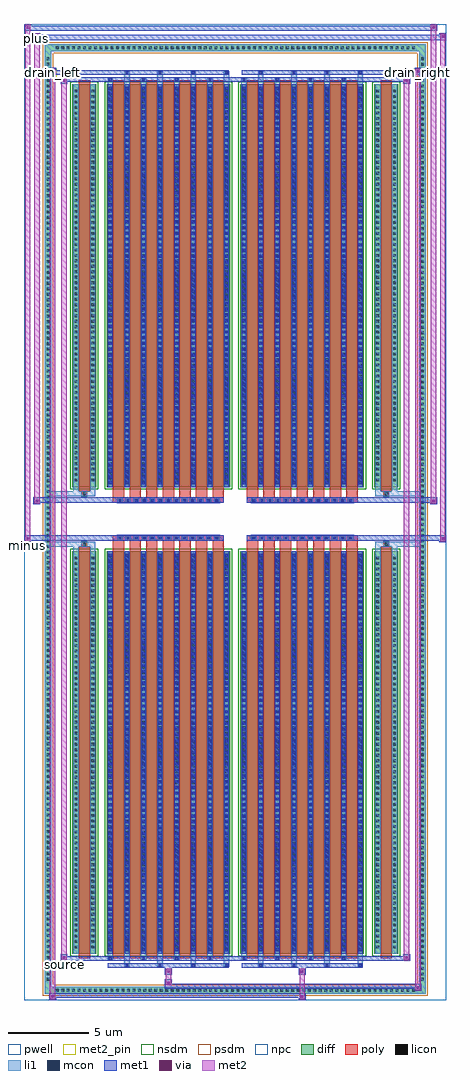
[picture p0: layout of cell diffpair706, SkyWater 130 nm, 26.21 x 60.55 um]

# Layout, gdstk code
import gdstk
lib = gdstk.Library(unit=1e-6, precision=5e-09)
def R(c, l, rs):  # rectangles x0, y0, x1, y1
    for r in rs: c.add(gdstk.rectangle(r[:2], r[2:], *l))
def A(c, l, x, y, w, h, nx, ny, dx, dy):  # array of equal rectangles
    R(c, l, [(x+i*dx, y+j*dy, x+i*dx+w, y+j*dy+h) for i in range(nx) for j in range(ny)])
def P(c, l, *ps):  # polygons
    for p in ps: c.add(gdstk.Polygon(p, *l))
pwell = (64, 44)
diff = (65, 20)
poly = (66, 20)
licon = (66, 44)
li1 = (67, 20)
mcon = (67, 44)
met1 = (68, 20)
via = (68, 44)
met2_pin = (69, 16)
met2 = (69, 20)
nsdm = (93, 44)
psdm = (94, 20)
npc = (95, 20)

diffpair706 = lib.new_cell('diffpair706')
R(diffpair706, pwell, [(-13.09,-29.84,13.09,30.71), (-10.41,-28.03,-0.01,-0.805), (0.01,-28.03,10.41,-0.805), (-10.41,0.805,-0.01,28.03), (0.01,0.805,10.41,28.03)])
A(diffpair706, diff, -11.255, -29.44, 0.41, 0.41, 66, 2, 0.34, 58.47)
A(diffpair706, diff, -11.82, -28.765, 0.41, 0.41, 1, 169, 0, 0.34)
A(diffpair706, diff, 11.41, -28.765, 0.41, 0.41, 1, 169, 0, 0.34)
R(diffpair706, diff, [(-11.255,-29.44,11.255,-29.03), (-11.82,-28.765,-11.41,28.765), (11.41,-28.765,11.82,28.765), (-10.1,-26.985,-8.62,-1.985), (-7.98,-26.985,-0.32,-1.985), (0.32,-26.985,7.98,-1.985), (8.62,-26.985,10.1,-1.985), (-10.1,1.985,-8.62,26.985), (-7.98,1.985,-0.32,26.985), (0.32,1.985,7.98,26.985), (8.62,1.985,10.1,26.985), (-11.255,29.03,11.255,29.44)])
P(diffpair706, diff, [(11.82,29.44),(-11.82,29.44),(-11.82,-29.03),(-11.41,-29.03),(-11.41,29.03),(11.41,29.03),(11.41,-29.03),(-11.41,-29.03),(-11.82,-29.03),(-11.82,-29.44),(11.82,-29.44)])
A(diffpair706, poly, -7.59, -27.235, 0.7, 25.5, 7, 2, 1.03, 28.97)
A(diffpair706, poly, 0.71, -27.235, 0.7, 25.5, 7, 2, 1.03, 28.97)
A(diffpair706, poly, -7.59, -1.735, 0.7, 0.4, 7, 2, 1.03, 3.07)
A(diffpair706, poly, 0.71, -1.735, 0.7, 0.4, 7, 2, 1.03, 3.07)
A(diffpair706, poly, -7.315, -1.335, 0.33, 0.33, 13, 2, 0.5, 2.34)
A(diffpair706, poly, 0.985, -1.335, 0.33, 0.33, 13, 2, 0.5, 2.34)
R(diffpair706, poly, [(-9.71,-27.235,-9.01,-1.735), (9.01,-27.235,9.71,-1.735), (-9.525,-1.735,-9.195,-1.405), (-9.525,-1.735,-9.195,-1.405), (9.195,-1.735,9.525,-1.405), (9.195,-1.735,9.525,-1.405), (-7.59,-1.335,-0.71,-1.005), (0.71,-1.335,7.59,-1.005), (-7.59,1.005,-0.71,1.335), (0.71,1.005,7.59,1.335), (-9.525,1.405,-9.195,1.735), (-9.525,1.405,-9.195,1.735), (9.195,1.405,9.525,1.735), (9.195,1.405,9.525,1.735), (-9.71,1.735,-9.01,27.235), (9.01,1.735,9.71,27.235)])
A(diffpair706, licon, -11.135, -29.32, 0.17, 0.17, 66, 2, 0.34, 58.47)
A(diffpair706, licon, -11.7, -28.645, 0.17, 0.17, 1, 169, 0, 0.34)
A(diffpair706, licon, 11.53, -28.645, 0.17, 0.17, 1, 169, 0, 0.34)
A(diffpair706, licon, -9.96, -26.64, 0.17, 0.17, 1, 72, 0, 0.34)
A(diffpair706, licon, -8.93, -26.64, 0.17, 0.17, 1, 72, 0, 0.34)
A(diffpair706, licon, -7.84, -26.64, 0.17, 0.17, 8, 72, 1.03, 0.34)
A(diffpair706, licon, 0.46, -26.64, 0.17, 0.17, 8, 72, 1.03, 0.34)
A(diffpair706, licon, 8.76, -26.64, 0.17, 0.17, 1, 72, 0, 0.34)
A(diffpair706, licon, 9.79, -26.64, 0.17, 0.17, 1, 72, 0, 0.34)
A(diffpair706, licon, -7.235, -1.255, 0.17, 0.17, 13, 2, 0.5, 2.34)
A(diffpair706, licon, 1.065, -1.255, 0.17, 0.17, 13, 2, 0.5, 2.34)
A(diffpair706, licon, -9.96, 2.33, 0.17, 0.17, 1, 72, 0, 0.34)
A(diffpair706, licon, -8.93, 2.33, 0.17, 0.17, 1, 72, 0, 0.34)
A(diffpair706, licon, -7.84, 2.33, 0.17, 0.17, 8, 72, 1.03, 0.34)
A(diffpair706, licon, 0.46, 2.33, 0.17, 0.17, 8, 72, 1.03, 0.34)
A(diffpair706, licon, 8.76, 2.33, 0.17, 0.17, 1, 72, 0, 0.34)
A(diffpair706, licon, 9.79, 2.33, 0.17, 0.17, 1, 72, 0, 0.34)
R(diffpair706, licon, [(-9.445,-1.655,-9.275,-1.485), (9.275,-1.655,9.445,-1.485), (-9.445,1.485,-9.275,1.655), (9.275,1.485,9.445,1.655)])
A(diffpair706, li1, -11.215, -29.4, 0.33, 0.33, 66, 2, 0.34, 58.47)
A(diffpair706, li1, -11.78, -28.725, 0.33, 0.33, 1, 169, 0, 0.34)
A(diffpair706, li1, 11.45, -28.725, 0.33, 0.33, 1, 169, 0, 0.34)
A(diffpair706, li1, -6.89, -27.79, 0.33, 0.805, 4, 2, 2.06, 54.775)
A(diffpair706, li1, -6.81, -27.79, 0.17, 0.17, 4, 2, 2.06, 55.41)
A(diffpair706, li1, 1.41, -27.79, 0.33, 0.805, 4, 2, 2.06, 54.775)
A(diffpair706, li1, 1.49, -27.79, 0.17, 0.17, 4, 2, 2.06, 55.41)
A(diffpair706, li1, -7.92, -27.36, 0.33, 0.375, 4, 2, 2.06, 54.345)
A(diffpair706, li1, -7.84, -27.36, 0.17, 0.17, 4, 2, 2.06, 54.55)
A(diffpair706, li1, 0.38, -27.36, 0.33, 0.375, 4, 2, 2.06, 54.345)
A(diffpair706, li1, 0.46, -27.36, 0.17, 0.17, 4, 2, 2.06, 54.55)
A(diffpair706, li1, -7.92, -26.985, 0.33, 25, 8, 2, 1.03, 28.97)
A(diffpair706, li1, 0.38, -26.985, 0.33, 25, 8, 2, 1.03, 28.97)
A(diffpair706, li1, -7.84, -26.81, 0.17, 0.17, 8, 69, 1.03, 0.36)
A(diffpair706, li1, -7.84, -26.81, 0.17, 24.65, 8, 2, 1.03, 28.97)
A(diffpair706, li1, 0.46, -26.81, 0.17, 0.17, 8, 69, 1.03, 0.36)
A(diffpair706, li1, 0.46, -26.81, 0.17, 24.65, 8, 2, 1.03, 28.97)
A(diffpair706, li1, -10.04, -26.72, 0.33, 0.33, 1, 72, 0, 0.34)
A(diffpair706, li1, -9.01, -26.72, 0.33, 0.33, 1, 72, 0, 0.34)
A(diffpair706, li1, -7.92, -26.72, 0.33, 0.33, 8, 72, 1.03, 0.34)
A(diffpair706, li1, 0.38, -26.72, 0.33, 0.33, 8, 72, 1.03, 0.34)
A(diffpair706, li1, 8.68, -26.72, 0.33, 0.33, 1, 72, 0, 0.34)
A(diffpair706, li1, 9.71, -26.72, 0.33, 0.33, 1, 72, 0, 0.34)
A(diffpair706, li1, -7.315, -1.335, 0.33, 0.33, 13, 2, 0.5, 2.34)
A(diffpair706, li1, 0.985, -1.335, 0.33, 0.33, 13, 2, 0.5, 2.34)
A(diffpair706, li1, -7.84, 2.16, 0.17, 0.17, 8, 69, 1.03, 0.36)
A(diffpair706, li1, 0.46, 2.16, 0.17, 0.17, 8, 69, 1.03, 0.36)
A(diffpair706, li1, -10.04, 2.25, 0.33, 0.33, 1, 72, 0, 0.34)
A(diffpair706, li1, -9.01, 2.25, 0.33, 0.33, 1, 72, 0, 0.34)
A(diffpair706, li1, -7.92, 2.25, 0.33, 0.33, 8, 72, 1.03, 0.34)
A(diffpair706, li1, 0.38, 2.25, 0.33, 0.33, 8, 72, 1.03, 0.34)
A(diffpair706, li1, 8.68, 2.25, 0.33, 0.33, 1, 72, 0, 0.34)
A(diffpair706, li1, 9.71, 2.25, 0.33, 0.33, 1, 72, 0, 0.34)
R(diffpair706, li1, [(-11.82,-29.44,-11.41,-29.03), (-11.82,-29.44,-11.41,-29.03), (-11.41,-29.44,11.41,-29.03), (11.41,-29.44,11.82,-29.03), (11.41,-29.44,11.82,-29.03), (-11.82,-29.03,-11.41,29.03), (11.41,-29.03,11.82,29.03), (-10.04,-26.985,-9.71,-1.985), (-9.01,-26.985,-8.68,-1.985), (8.68,-26.985,9.01,-1.985), (9.71,-26.985,10.04,-1.985), (-10.04,-1.985,-9.71,-1.405), (-9.01,-1.985,-8.68,-1.405), (8.68,-1.985,9.01,-1.405), (9.71,-1.985,10.04,-1.405), (-11.82,-1.735,-9.525,-1.405), (-10.04,-1.735,-9.525,-1.405), (-9.525,-1.735,-9.195,-1.405), (-9.195,-1.735,-8.68,-1.405), (8.68,-1.735,9.195,-1.405), (9.195,-1.735,9.525,-1.405), (9.195,-1.735,11.82,-1.405), (9.525,-1.735,10.04,-1.405), (-11.82,1.405,-9.525,1.735), (-10.04,1.405,-9.525,1.735), (-10.04,1.405,-9.71,1.985), (-9.525,1.405,-9.195,1.735), (-9.195,1.405,-8.68,1.735), (-9.01,1.405,-8.68,1.985), (8.68,1.405,9.195,1.735), (8.68,1.405,9.01,1.985), (9.195,1.405,9.525,1.735), (9.195,1.405,11.82,1.735), (9.525,1.405,10.04,1.735), (9.71,1.405,10.04,1.985), (-10.04,1.985,-9.71,26.985), (-9.01,1.985,-8.68,26.985), (8.68,1.985,9.01,26.985), (9.71,1.985,10.04,26.985), (-11.82,29.03,-11.41,29.44), (-11.82,29.03,-11.41,29.44), (-11.41,29.03,11.41,29.44), (11.41,29.03,11.82,29.44), (11.41,29.03,11.82,29.44)])
A(diffpair706, mcon, -6.81, -27.79, 0.17, 0.17, 4, 2, 2.06, 55.41)
A(diffpair706, mcon, 1.49, -27.79, 0.17, 0.17, 4, 2, 2.06, 55.41)
A(diffpair706, mcon, -7.84, -27.36, 0.17, 0.17, 4, 2, 2.06, 54.55)
A(diffpair706, mcon, 0.46, -27.36, 0.17, 0.17, 4, 2, 2.06, 54.55)
A(diffpair706, mcon, -7.84, -26.81, 0.17, 0.17, 8, 69, 1.03, 0.36)
A(diffpair706, mcon, 0.46, -26.81, 0.17, 0.17, 8, 69, 1.03, 0.36)
A(diffpair706, mcon, -7.235, -1.255, 0.17, 0.17, 13, 2, 0.5, 2.34)
A(diffpair706, mcon, 1.065, -1.255, 0.17, 0.17, 13, 2, 0.5, 2.34)
A(diffpair706, mcon, -7.84, 2.16, 0.17, 0.17, 8, 69, 1.03, 0.36)
A(diffpair706, mcon, 0.46, 2.16, 0.17, 0.17, 8, 69, 1.03, 0.36)
A(diffpair706, met1, -6.87, -27.85, 0.29, 0.29, 4, 2, 2.06, 55.41)
A(diffpair706, met1, 1.43, -27.85, 0.29, 0.29, 4, 2, 2.06, 55.41)
A(diffpair706, met1, -7.9, -27.42, 0.29, 0.29, 4, 2, 2.06, 54.55)
A(diffpair706, met1, 0.4, -27.42, 0.29, 0.29, 4, 2, 2.06, 54.55)
A(diffpair706, met1, -7.9, -26.985, 0.29, 25, 8, 2, 1.03, 28.97)
A(diffpair706, met1, 0.4, -26.985, 0.29, 25, 8, 2, 1.03, 28.97)
A(diffpair706, met1, -7.9, -26.87, 0.29, 0.29, 8, 69, 1.03, 0.36)
A(diffpair706, met1, 0.4, -26.87, 0.29, 0.29, 8, 69, 1.03, 0.36)
A(diffpair706, met1, -7.295, -1.315, 0.29, 0.29, 13, 2, 0.5, 2.34)
A(diffpair706, met1, 1.005, -1.315, 0.29, 0.29, 13, 2, 0.5, 2.34)
A(diffpair706, met1, -7.9, 2.1, 0.29, 0.29, 8, 69, 1.03, 0.36)
A(diffpair706, met1, 0.4, 2.1, 0.29, 0.29, 8, 69, 1.03, 0.36)
R(diffpair706, met1, [(-11.55,-29.84,-11.12,-29.41), (3.935,-29.84,4.365,-29.41), (-11.55,-29.7,4.365,-29.41), (11.12,-29.27,11.55,-28.84), (-4.365,-29.13,11.55,-28.84), (-4.365,-28.99,-3.935,-28.56), (-4.365,-28.28,-3.935,-27.85), (3.935,-28.28,4.365,-27.85), (-7.9,-27.85,-0.4,-27.56), (0.4,-27.85,7.9,-27.56), (-10.84,-27.42,-10.41,-26.99), (-10.84,-27.42,-7.9,-27.13), (-7.9,-27.42,-0.4,-27.13), (-0.4,-27.42,0.4,-27.13), (0.4,-27.42,7.9,-27.13), (7.9,-27.42,10.84,-27.13), (10.41,-27.42,10.84,-26.99), (-13.09,-1.435,-12.66,-1.005), (12.66,-1.435,13.09,-1.005), (-13.09,-1.335,-0.71,-1.005), (-7.59,-1.335,-0.71,-1.005), (0.71,-1.335,7.59,-1.005), (0.71,-1.335,13.09,-1.005), (-12.52,0.905,-12.09,1.335), (12.09,0.905,12.52,1.335), (-12.52,1.005,-7.59,1.335), (-7.59,1.005,-0.71,1.335), (0.71,1.005,7.59,1.335), (7.59,1.005,12.52,1.335), (-10.84,26.99,-10.41,27.42), (10.41,26.99,10.84,27.42), (-10.84,27.13,-7.9,27.42), (-7.9,27.13,-0.4,27.42), (-0.4,27.13,0.4,27.42), (0.4,27.13,7.9,27.42), (7.9,27.13,10.84,27.42), (-11.55,27.56,-11.12,27.99), (-11.55,27.56,-7.9,27.85), (-7.9,27.56,-0.4,27.85), (0.4,27.56,7.9,27.85), (7.9,27.56,11.55,27.85), (11.12,27.56,11.55,27.99), (-12.52,29.71,-12.09,30.14), (-12.52,29.71,-10.41,30.04), (-10.41,29.71,10.41,30.04), (10.41,29.71,13.09,30.04), (12.66,29.71,13.09,30.14), (-13.09,30.28,-12.66,30.71), (-13.09,30.28,-10.41,30.61), (-10.41,30.28,10.41,30.61), (10.41,30.28,12.52,30.61), (12.09,30.28,12.52,30.71)])
R(diffpair706, via, [(-11.41,-29.7,-11.26,-29.55), (4.075,-29.7,4.225,-29.55), (11.26,-29.13,11.41,-28.98), (-4.225,-28.85,-4.075,-28.7), (-4.225,-28.14,-4.075,-27.99), (4.075,-28.14,4.225,-27.99), (-10.7,-27.28,-10.55,-27.13), (10.55,-27.28,10.7,-27.13), (-12.95,-1.295,-12.8,-1.145), (12.8,-1.295,12.95,-1.145), (-12.38,1.045,-12.23,1.195), (12.23,1.045,12.38,1.195), (-10.7,27.13,-10.55,27.28), (10.55,27.13,10.7,27.28), (-11.41,27.7,-11.26,27.85), (11.26,27.7,11.41,27.85), (-12.38,29.85,-12.23,30), (12.8,29.85,12.95,30), (-12.95,30.42,-12.8,30.57), (12.23,30.42,12.38,30.57)])
R(diffpair706, met2_pin, [(-10.875,-27.87,-10.375,-27.37), (-13.125,-1.885,-12.625,-1.385), (-11.585,27.44,-11.085,27.94), (11.085,27.44,11.585,27.94), (-12.555,29.59,-12.055,30.09)])
R(diffpair706, met2, [(-11.5,-29.79,-11.17,-29.46), (-11.5,-29.79,-11.17,27.94), (3.985,-29.79,4.315,-29.46), (3.985,-29.46,4.315,-28.23), (11.17,-29.22,11.5,-28.89), (11.17,-29.22,11.5,27.94), (-4.315,-28.94,-3.985,-28.61), (-4.315,-28.61,-3.985,-28.23), (-4.315,-28.23,-3.985,-27.9), (3.985,-28.23,4.315,-27.9), (-10.79,-27.37,-10.46,-27.04), (-10.79,-27.37,-10.46,27.37), (10.46,-27.37,10.79,-27.04), (10.46,-27.37,10.79,27.37), (-13.04,-1.385,-12.71,-1.055), (-13.04,-1.385,-12.71,30.66), (12.71,-1.385,13.04,-1.055), (12.71,-1.385,13.04,30.09), (-12.47,0.955,-12.14,1.285), (-12.47,0.955,-12.14,30.09), (12.14,0.955,12.47,1.285), (12.14,0.955,12.47,30.66), (-10.79,27.04,-10.46,27.37), (10.46,27.04,10.79,27.37), (-11.5,27.61,-11.17,27.94), (11.17,27.61,11.5,27.94), (-12.47,29.76,-12.14,30.09), (12.71,29.76,13.04,30.09), (-13.04,30.33,-12.71,30.66), (12.14,30.33,12.47,30.66)])
P(diffpair706, met2, [(13.04,-1.385),(13.04,-1.385),(13.04,-1.055),(13.04,-1.055)],
  [(13.04,29.76),(13.04,29.76),(13.04,30.09),(13.04,30.09)],
  [(-12.71,-1.385),(-12.71,-1.385),(-12.71,-1.055),(-12.71,-1.055)],
  [(-12.71,30.33),(-12.71,30.33),(-12.71,30.66),(-12.71,30.66)],
  [(12.47,0.955),(12.47,0.955),(12.47,1.285),(12.47,1.285)],
  [(12.47,30.33),(12.47,30.33),(12.47,30.66),(12.47,30.66)],
  [(-12.14,0.955),(-12.14,0.955),(-12.14,1.285),(-12.14,1.285)],
  [(-12.14,29.76),(-12.14,29.76),(-12.14,30.09),(-12.14,30.09)],
  [(-11.17,-29.79),(-11.17,-29.79),(-11.17,-29.46),(-11.17,-29.46)],
  [(-11.17,27.61),(-11.17,27.61),(-11.17,27.94),(-11.17,27.94)],
  [(11.5,-29.22),(11.5,-29.22),(11.5,-28.89),(11.5,-28.89)],
  [(11.5,27.61),(11.5,27.61),(11.5,27.94),(11.5,27.94)],
  [(-10.46,-27.37),(-10.46,-27.37),(-10.46,-27.04),(-10.46,-27.04)],
  [(-10.46,27.04),(-10.46,27.04),(-10.46,27.37),(-10.46,27.37)],
  [(10.79,-27.37),(10.79,-27.37),(10.79,-27.04),(10.79,-27.04)],
  [(10.79,27.04),(10.79,27.04),(10.79,27.37),(10.79,27.37)])
R(diffpair706, nsdm, [(-10.23,-27.115,-8.49,-1.855), (-8.11,-27.115,-0.19,-1.855), (0.19,-27.115,8.11,-1.855), (8.49,-27.115,10.23,-1.855), (-10.23,1.855,-8.49,27.115), (-8.11,1.855,-0.19,27.115), (0.19,1.855,8.11,27.115), (8.49,1.855,10.23,27.115)])
P(diffpair706, psdm, [(11.95,29.57),(-11.95,29.57),(-11.95,-28.9),(-11.28,-28.9),(-11.28,28.9),(11.28,28.9),(11.28,-28.9),(-11.28,-28.9),(-11.95,-28.9),(-11.95,-29.57),(11.95,-29.57)])
A(diffpair706, npc, -7.335, -1.355, 0.37, 0.37, 13, 2, 0.5, 2.34)
A(diffpair706, npc, 0.965, -1.355, 0.37, 0.37, 13, 2, 0.5, 2.34)
R(diffpair706, npc, [(-9.545,-1.755,-9.175,-1.385), (9.175,-1.755,9.545,-1.385), (-7.335,-1.355,-6.465,-0.985), (-7.335,-1.355,-6.465,-0.985), (-6.835,-1.355,-5.965,-0.985), (-6.835,-1.355,-5.965,-0.985), (-6.335,-1.355,-5.465,-0.985), (-6.335,-1.355,-5.465,-0.985), (-5.835,-1.355,-4.965,-0.985), (-5.835,-1.355,-4.965,-0.985), (-5.335,-1.355,-4.465,-0.985), (-5.335,-1.355,-4.465,-0.985), (-4.835,-1.355,-3.965,-0.985), (-4.835,-1.355,-3.965,-0.985), (-4.335,-1.355,-3.465,-0.985), (-4.335,-1.355,-3.465,-0.985), (-3.835,-1.355,-2.965,-0.985), (-3.835,-1.355,-2.965,-0.985), (-3.335,-1.355,-2.465,-0.985), (-3.335,-1.355,-2.465,-0.985), (-2.835,-1.355,-1.965,-0.985), (-2.835,-1.355,-1.965,-0.985), (-2.335,-1.355,-1.465,-0.985), (-2.335,-1.355,-1.465,-0.985), (-1.835,-1.355,-0.965,-0.985), (-1.835,-1.355,-0.965,-0.985), (0.965,-1.355,1.835,-0.985), (0.965,-1.355,1.835,-0.985), (1.465,-1.355,2.335,-0.985), (1.465,-1.355,2.335,-0.985), (1.965,-1.355,2.835,-0.985), (1.965,-1.355,2.835,-0.985), (2.465,-1.355,3.335,-0.985), (2.465,-1.355,3.335,-0.985), (2.965,-1.355,3.835,-0.985), (2.965,-1.355,3.835,-0.985), (3.465,-1.355,4.335,-0.985), (3.465,-1.355,4.335,-0.985), (3.965,-1.355,4.835,-0.985), (3.965,-1.355,4.835,-0.985), (4.465,-1.355,5.335,-0.985), (4.465,-1.355,5.335,-0.985), (4.965,-1.355,5.835,-0.985), (4.965,-1.355,5.835,-0.985), (5.465,-1.355,6.335,-0.985), (5.465,-1.355,6.335,-0.985), (5.965,-1.355,6.835,-0.985), (5.965,-1.355,6.835,-0.985), (6.465,-1.355,7.335,-0.985), (6.465,-1.355,7.335,-0.985), (-7.335,0.985,-6.465,1.355), (-7.335,0.985,-6.465,1.355), (-6.835,0.985,-5.965,1.355), (-6.835,0.985,-5.965,1.355), (-6.335,0.985,-5.465,1.355), (-6.335,0.985,-5.465,1.355), (-5.835,0.985,-4.965,1.355), (-5.835,0.985,-4.965,1.355), (-5.335,0.985,-4.465,1.355), (-5.335,0.985,-4.465,1.355), (-4.835,0.985,-3.965,1.355), (-4.835,0.985,-3.965,1.355), (-4.335,0.985,-3.465,1.355), (-4.335,0.985,-3.465,1.355), (-3.835,0.985,-2.965,1.355), (-3.835,0.985,-2.965,1.355), (-3.335,0.985,-2.465,1.355), (-3.335,0.985,-2.465,1.355), (-2.835,0.985,-1.965,1.355), (-2.835,0.985,-1.965,1.355), (-2.335,0.985,-1.465,1.355), (-2.335,0.985,-1.465,1.355), (-1.835,0.985,-0.965,1.355), (-1.835,0.985,-0.965,1.355), (0.965,0.985,1.835,1.355), (0.965,0.985,1.835,1.355), (1.465,0.985,2.335,1.355), (1.465,0.985,2.335,1.355), (1.965,0.985,2.835,1.355), (1.965,0.985,2.835,1.355), (2.465,0.985,3.335,1.355), (2.465,0.985,3.335,1.355), (2.965,0.985,3.835,1.355), (2.965,0.985,3.835,1.355), (3.465,0.985,4.335,1.355), (3.465,0.985,4.335,1.355), (3.965,0.985,4.835,1.355), (3.965,0.985,4.835,1.355), (4.465,0.985,5.335,1.355), (4.465,0.985,5.335,1.355), (4.965,0.985,5.835,1.355), (4.965,0.985,5.835,1.355), (5.465,0.985,6.335,1.355), (5.465,0.985,6.335,1.355), (5.965,0.985,6.835,1.355), (5.965,0.985,6.835,1.355), (6.465,0.985,7.335,1.355), (6.465,0.985,7.335,1.355), (-9.545,1.385,-9.175,1.755), (9.175,1.385,9.545,1.755)])
diffpair706.add(gdstk.Label('minus', (-12.875,-1.635), layer=69, texttype=5))
diffpair706.add(gdstk.Label('drain_right', (11.335,27.69), layer=69, texttype=5))
diffpair706.add(gdstk.Label('drain_left', (-11.335,27.69), layer=69, texttype=5))
diffpair706.add(gdstk.Label('source', (-10.625,-27.62), layer=69, texttype=5))
diffpair706.add(gdstk.Label('plus', (-12.305,29.84), layer=69, texttype=5))

lib.write_gds('diffpair706.gds')
